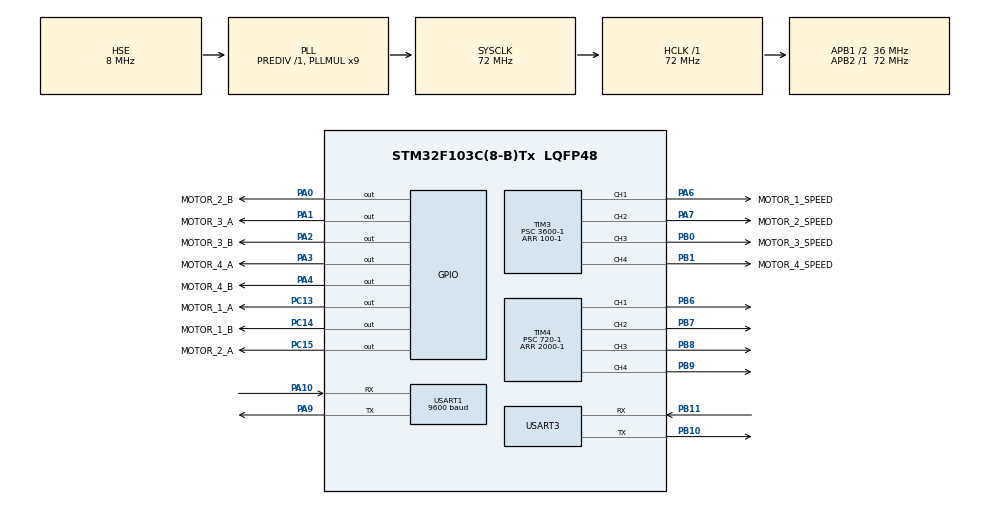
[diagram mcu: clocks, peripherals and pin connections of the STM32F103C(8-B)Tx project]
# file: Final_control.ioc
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Dma.Request0=USART1_RX
Dma.Request1=USART3_RX
Dma.Request2=USART3_TX
Dma.USART1_RX.0.Direction=DMA_PERIPH_TO_MEMORY
Dma.USART1_RX.0.Instance=DMA1_Channel5
Dma.USART1_RX.0.MemDataAlignment=DMA_MDATAALIGN_BYTE
Dma.USART1_RX.0.MemInc=DMA_MINC_ENABLE
Dma.USART1_RX.0.Mode=DMA_CIRCULAR
Dma.USART1_RX.0.PeriphDataAlignment=DMA_PDATAALIGN_BYTE
Dma.USART1_RX.0.PeriphInc=DMA_PINC_DISABLE
Dma.USART1_RX.0.Priority=DMA_PRIORITY_LOW
Dma.USART3_RX.1.Direction=DMA_PERIPH_TO_MEMORY
Dma.USART3_RX.1.Instance=DMA1_Channel3
Dma.USART3_RX.1.MemDataAlignment=DMA_MDATAALIGN_BYTE
Dma.USART3_RX.1.MemInc=DMA_MINC_ENABLE
Dma.USART3_RX.1.Mode=DMA_CIRCULAR
Dma.USART3_RX.1.PeriphDataAlignment=DMA_PDATAALIGN_BYTE
Dma.USART3_RX.1.PeriphInc=DMA_PINC_DISABLE
Dma.USART3_RX.1.Priority=DMA_PRIORITY_LOW
Dma.USART3_TX.2.Direction=DMA_MEMORY_TO_PERIPH
Dma.USART3_TX.2.Instance=DMA1_Channel2
Dma.USART3_TX.2.MemDataAlignment=DMA_MDATAALIGN_BYTE
Dma.USART3_TX.2.MemInc=DMA_MINC_ENABLE
Dma.USART3_TX.2.Mode=DMA_NORMAL
Dma.USART3_TX.2.PeriphDataAlignment=DMA_PDATAALIGN_BYTE
Dma.USART3_TX.2.PeriphInc=DMA_PINC_DISABLE
Dma.USART3_TX.2.Priority=DMA_PRIORITY_LOW
Mcu.Family=STM32F1
Mcu.Name=STM32F103C(8-B)Tx
Mcu.Package=LQFP48
NVIC.DMA1_Channel2_IRQn=true\:5\:0\:true\:false\:true\:false\:true\:true
NVIC.DMA1_Channel3_IRQn=true\:3\:0\:true\:false\:true\:false\:true\:true
NVIC.DMA1_Channel5_IRQn=true\:4\:0\:true\:false\:true\:false\:true\:true
NVIC.PriorityGroup=NVIC_PRIORITYGROUP_4
NVIC.TIM2_IRQn=true\:2\:0\:true\:false\:true\:true\:true\:true
PA0-WKUP.GPIO_Label=MOTOR_2_B
PA0-WKUP.Signal=GPIO_Output
PA1.GPIO_Label=MOTOR_3_A
PA1.Signal=GPIO_Output
PA10.Mode=Asynchronous
PA10.Signal=USART1_RX
PA13.Mode=Serial_Wire
PA13.Signal=SYS_JTMS-SWDIO
PA14.Mode=Serial_Wire
PA14.Signal=SYS_JTCK-SWCLK
PA2.GPIO_Label=MOTOR_3_B
PA2.Signal=GPIO_Output
PA3.GPIO_Label=MOTOR_4_A
PA3.Signal=GPIO_Output
PA4.GPIO_Label=MOTOR_4_B
PA4.Signal=GPIO_Output
PA6.GPIO_Label=MOTOR_1_SPEED
PA6.Signal=S_TIM3_CH1
PA7.GPIO_Label=MOTOR_2_SPEED
PA7.Signal=S_TIM3_CH2
PA9.Mode=Asynchronous
PA9.Signal=USART1_TX
PB0.GPIO_Label=MOTOR_3_SPEED
PB0.Signal=S_TIM3_CH3
PB1.GPIO_Label=MOTOR_4_SPEED
PB1.Signal=S_TIM3_CH4
PB10.Mode=Asynchronous
PB10.Signal=USART3_TX
PB11.Mode=Asynchronous
PB11.Signal=USART3_RX
PB6.Signal=S_TIM4_CH1
PB7.Signal=S_TIM4_CH2
PB8.Signal=S_TIM4_CH3
PB9.Signal=S_TIM4_CH4
PC13-TAMPER-RTC.GPIO_Label=MOTOR_1_A
PC13-TAMPER-RTC.Signal=GPIO_Output
PC14-OSC32_IN.GPIO_Label=MOTOR_1_B
PC14-OSC32_IN.Signal=GPIO_Output
PC15-OSC32_OUT.GPIO_Label=MOTOR_2_A
PC15-OSC32_OUT.Signal=GPIO_Output
PD0-OSC_IN.Mode=HSE-External-Oscillator
PD0-OSC_IN.Signal=RCC_OSC_IN
PD1-OSC_OUT.Mode=HSE-External-Oscillator
PD1-OSC_OUT.Signal=RCC_OSC_OUT
ProjectManager.HeapSize=0x200
ProjectManager.StackSize=0x400
ProjectManager.TargetToolchain=MDK-ARM V5.32
RCC.AHBFreq_Value=72000000
RCC.APB1CLKDivider=RCC_HCLK_DIV2
RCC.APB1Freq_Value=36000000
RCC.APB1TimFreq_Value=72000000
RCC.APB2Freq_Value=72000000
RCC.APB2TimFreq_Value=72000000
RCC.HCLKFreq_Value=72000000
RCC.PLLMUL=RCC_PLL_MUL9
RCC.PLLSourceVirtual=RCC_PLLSOURCE_HSE
RCC.SYSCLKFreq_VALUE=72000000
RCC.SYSCLKSource=RCC_SYSCLKSOURCE_PLLCLK
RCC.USBFreq_Value=72000000
SH.S_TIM3_CH1.0=TIM3_CH1,PWM Generation1 CH1
SH.S_TIM3_CH2.0=TIM3_CH2,PWM Generation2 CH2
SH.S_TIM3_CH3.0=TIM3_CH3,PWM Generation3 CH3
SH.S_TIM3_CH4.0=TIM3_CH4,PWM Generation4 CH4
SH.S_TIM4_CH1.0=TIM4_CH1,PWM Generation1 CH1
SH.S_TIM4_CH2.0=TIM4_CH2,PWM Generation2 CH2
SH.S_TIM4_CH3.0=TIM4_CH3,PWM Generation3 CH3
SH.S_TIM4_CH4.0=TIM4_CH4,PWM Generation4 CH4
TIM2.Period=100-1
TIM2.Prescaler=720-1
TIM3.AutoReloadPreload=TIM_AUTORELOAD_PRELOAD_ENABLE
TIM3.Channel-PWM\ Generation1\ CH1=TIM_CHANNEL_1
TIM3.Channel-PWM\ Generation2\ CH2=TIM_CHANNEL_2
TIM3.Channel-PWM\ Generation3\ CH3=TIM_CHANNEL_3
TIM3.Channel-PWM\ Generation4\ CH4=TIM_CHANNEL_4
TIM3.Period=100-1
TIM3.Prescaler=3600-1
TIM3.Pulse-PWM\ Generation1\ CH1=50-1
TIM3.Pulse-PWM\ Generation2\ CH2=50-1
TIM4.AutoReloadPreload=TIM_AUTORELOAD_PRELOAD_ENABLE
TIM4.Channel-PWM\ Generation1\ CH1=TIM_CHANNEL_1
TIM4.Channel-PWM\ Generation2\ CH2=TIM_CHANNEL_2
TIM4.Channel-PWM\ Generation3\ CH3=TIM_CHANNEL_3
TIM4.Channel-PWM\ Generation4\ CH4=TIM_CHANNEL_4
TIM4.Period=2000-1
TIM4.Prescaler=720-1
USART1.BaudRate=9600
USART1.VirtualMode=VM_ASYNC
USART3.VirtualMode=VM_ASYNC
VP_TIM2_VS_ClockSourceINT.Mode=Internal
board=custom

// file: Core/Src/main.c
/* USER CODE BEGIN Header */
/**
 ******************************************************************************
 * @file           : main.c
 * @brief          : Main program body
 ******************************************************************************
 * @attention
 *
 * Copyright (c) 2024 STMicroelectronics.
 * All rights reserved.
 *
 * This software is licensed under terms that can be found in the LICENSE file
 * in the root directory of this software component.
 * If no LICENSE file comes with this software, it is provided AS-IS.
 *
 ******************************************************************************
 */
/* USER CODE END Header */
#include "main.h"
#include "dma.h"
#include "tim.h"
#include "usart.h"
#include "gpio.h"

/* USER CODE BEGIN Includes */
#include "valuepack.h"
/* USER CODE END Includes */

/* USER CODE BEGIN PM */
#define MAX_SPEED 100
#define RATIO_TO_ARR_MAGIC_NUMBER 150
#define RASP_BUFFER_SIZE 128

// reset positionk
// range:-100~100
#define SERVO_1_RESET_POSITION 0
#define SERVO_2_RESET_POSITION 100
#define SERVO_3_RESET_POSITION 100

#define CLAW_CLOSED_POSITION 35
#define CLAW_OPEN_POSITION 100

/* USER CODE END PM */

/* USER CODE BEGIN PV */

// here is BLE vars
_Bool RED0_BLE1 = 0;
_Bool BOOL1 = 0;
_Bool BOOL2 = 0;
_Bool BOOL3 = 0;
_Bool BOOL4 = 0;
_Bool BOOL5 = 0;
_Bool BOOL6 = 0;
_Bool CLAW = 0;
_Bool ResetPosition = 0;
_Bool StartAuto = 0;
_Bool Man1 = 0;
_Bool Man2 = 0;
_Bool Man3 = 0;
_Bool Man4 = 0;

int8_t OBJ = 0; // 0-none, 1-garbage, 2-mine, 3-meteroite
int8_t overall_byte = 0;
int8_t X_axis = 0;
int8_t Y_axis = 0;
int8_t ROTATION = 0;
int8_t S1 = 0;
int8_t S2 = 0;
int8_t S3 = 0;
int8_t S4 = 0;

int8_t servo_control_1 = SERVO_1_RESET_POSITION;
int8_t servo_control_2 = SERVO_2_RESET_POSITION;
int8_t servo_control_3 = SERVO_3_RESET_POSITION;
int8_t servo_control_4 = CLAW_OPEN_POSITION;

// char target_arr[6];

// debug DEBUG Debug--------------
char target_arr[6] = {'Y', 'X', 'Z', 'X', 'Y', 'Z'};
char validate_num_list[2];
_Bool *full_block_ptr[6] = {&BOOL1, &BOOL2, &BOOL3, &BOOL4, &BOOL5, &BOOL6};
_Bool finished_receiving_target = 0;
unsigned short rasp_last_index = 0;
unsigned short rasp_this_index = 0;
uint16_t rasp_index = 0;

// uint8_t auto_count=0;
// uint8_t auto_last=0;

uint8_t auto_status_flag = 0;
_Bool still_have_bonus_left = 0;
_Bool still_have_normal_left = 0;

// const uint8_t BUFFER_SIZE=32;
// uint8_t rx_buffer[VALUEPACK_BUFFER_SIZE];
extern unsigned char vp_rxbuff[VALUEPACK_BUFFER_SIZE];
unsigned char rasp_buff[RASP_BUFFER_SIZE];
RxPack rx_pack_ptr;

_Bool started_read_rasp = 0;

/* USER CODE END PV */

void SystemClock_Config(void);
/* USER CODE BEGIN PFP */
void WheelControl(GPIO_TypeDef *DIR1_Port, uint16_t DIR1_Pin, GPIO_TypeDef *DIR2_Port, uint16_t DIR2_Pin, TIM_HandleTypeDef *htim, uint32_t channel, int16_t speed);
void SetMecanumWheels(int16_t speedLF, int16_t speedRF, int16_t speedLB, int16_t speedRB);
int16_t abs16_t(int16_t x);
void MoveMecanumWheels(int16_t vx, int16_t vy, int16_t omega);
/* USER CODE END PFP */

/* USER CODE BEGIN 0 */

//-100<=speed<=100
void WheelControl(GPIO_TypeDef *DIR1_Port, uint16_t DIR1_Pin, GPIO_TypeDef *DIR2_Port, uint16_t DIR2_Pin, TIM_HandleTypeDef *htim, uint32_t channel, int16_t speed)
{
  if (speed > 0)
  {
    HAL_GPIO_WritePin(DIR1_Port, DIR1_Pin, GPIO_PIN_SET);
    HAL_GPIO_WritePin(DIR2_Port, DIR2_Pin, GPIO_PIN_RESET);
  }
  else if (speed < 0)
  {
    HAL_GPIO_WritePin(DIR1_Port, DIR1_Pin, GPIO_PIN_RESET);
    HAL_GPIO_WritePin(DIR2_Port, DIR2_Pin, GPIO_PIN_SET);
    speed = -speed;
  }
  else
  {

    HAL_GPIO_WritePin(DIR1_Port, DIR1_Pin, GPIO_PIN_RESET);
    HAL_GPIO_WritePin(DIR2_Port, DIR2_Pin, GPIO_PIN_RESET);
  }
  __HAL_TIM_SET_COMPARE(htim, channel, speed);
}

/*
int16_t debug_1=0;
int16_t debug_2=0;
int16_t debug_3=0;
int16_t debug_4=0;
*/
void SetMecanumWheels(int16_t speedLF, int16_t speedRF, int16_t speedLB, int16_t speedRB)
{
  /*
  debug_1=speedLF;
  debug_2=speedRF;
  debug_3=speedLB;
  debug_4=speedRB;*/

  WheelControl(MOTOR_1_A_GPIO_Port, MOTOR_1_A_Pin, MOTOR_1_B_GPIO_Port, MOTOR_1_B_Pin, &htim3, TIM_CHANNEL_1, speedLF);
  WheelControl(MOTOR_2_A_GPIO_Port, MOTOR_2_A_Pin, MOTOR_2_B_GPIO_Port, MOTOR_2_B_Pin, &htim3, TIM_CHANNEL_2, speedRF);
  WheelControl(MOTOR_3_A_GPIO_Port, MOTOR_3_A_Pin, MOTOR_3_B_GPIO_Port, MOTOR_3_B_Pin, &htim3, TIM_CHANNEL_3, speedLB);
  WheelControl(MOTOR_4_A_GPIO_Port, MOTOR_4_A_Pin, MOTOR_4_B_GPIO_Port, MOTOR_4_B_Pin, &htim3, TIM_CHANNEL_4, speedRB);
}

int16_t abs16_t(int16_t x)
{
  return (x > 0) ? x : -x;
}

void MoveMecanumWheels(int16_t vx, int16_t vy, int16_t omega)
{
  int16_t speedLF = vy + vx - omega;
  int16_t speedRF = vy - vx + omega;
  int16_t speedLB = vy - vx - omega;
  int16_t speedRB = vy + vx + omega;

  // Find the maximum speed among the four wheels
  int16_t maxSpeed = abs16_t(speedLF);
  if (abs16_t(speedRF) > maxSpeed)
    maxSpeed = abs16_t(speedRF);
  if (abs16_t(speedLB) > maxSpeed)
    maxSpeed = abs16_t(speedLB);
  if (abs16_t(speedRB) > maxSpeed)
    maxSpeed = abs16_t(speedRB);

  // If the maximum speed exceeds 100, scale all wheel speeds proportionally
  if (maxSpeed > MAX_SPEED)
  {
    /*debug_1=speedLF = speedLF * MAX_SPEED / maxSpeed;
    debug_2=speedRF = speedRF * MAX_SPEED / maxSpeed;
    debug_3=speedLB = speedLB * MAX_SPEED / maxSpeed;
    debug_4=speedRB = speedRB * MAX_SPEED / maxSpeed;*/

    speedLF = speedLF * MAX_SPEED / maxSpeed;
    speedRF = speedRF * MAX_SPEED / maxSpeed;
    speedLB = speedLB * MAX_SPEED / maxSpeed;
    speedRB = speedRB * MAX_SPEED / maxSpeed;
  }

  // Set the speed for the mecanum wheels
  SetMecanumWheels(-speedLF, speedRF, -speedLB, speedRB);
}

void SetSingleServo(TIM_HandleTypeDef *htim, uint32_t channel, int16_t ratio)
{
  __HAL_TIM_SetCompare(htim, channel, ratio + RATIO_TO_ARR_MAGIC_NUMBER);
}

void SetServos(int16_t ratio1, int16_t ratio2, int16_t ratio3, int16_t ratio4)
{

  ratio2 = ratio2 * 0.8 + 20;
	ratio3 = ratio3 * 0.75 + 25;

  SetSingleServo(&htim4, TIM_CHANNEL_1, ratio1);
  SetSingleServo(&htim4, TIM_CHANNEL_2, ratio2);
  SetSingleServo(&htim4, TIM_CHANNEL_3, ratio3);
  SetSingleServo(&htim4, TIM_CHANNEL_4, ratio4);
}

void GetData(void)
{
  readValuePack(&rx_pack_ptr);

  RED0_BLE1 = rx_pack_ptr.bools[0];
  BOOL1 = rx_pack_ptr.bools[1];
  BOOL2 = rx_pack_ptr.bools[2];
  BOOL3 = rx_pack_ptr.bools[3];
  BOOL4 = rx_pack_ptr.bools[4];
  BOOL5 = rx_pack_ptr.bools[5];
  BOOL6 = rx_pack_ptr.bools[6];
  CLAW = rx_pack_ptr.bools[7];
  ResetPosition = rx_pack_ptr.bools[8];
  StartAuto = rx_pack_ptr.bools[9];
  Man1 = rx_pack_ptr.bools[10];
  Man2 = rx_pack_ptr.bools[11];
  Man3 = rx_pack_ptr.bools[12];
  Man4 = rx_pack_ptr.bools[13];

  OBJ = rx_pack_ptr.bytes[0]; // 0-none, 1-garbage, 2-mine, 3-meteroite
  overall_byte = rx_pack_ptr.bytes[1];
  X_axis = rx_pack_ptr.bytes[2];
  Y_axis = rx_pack_ptr.bytes[3];
  ROTATION = rx_pack_ptr.bytes[4];
  S1 = rx_pack_ptr.bytes[5];
  S2 = rx_pack_ptr.bytes[6];
  S3 = rx_pack_ptr.bytes[7];
  S4 = rx_pack_ptr.bytes[8];
}

void swap_arr(uint8_t a, uint8_t b)
{
  char temp = target_arr[a];
  target_arr[a] = target_arr[b];
  target_arr[b] = temp;
}

_Bool validate_data()
{

  int8_t my_validate_value = 0;
  for (int i = 0; i < 6; i++)
  {
    if (target_arr[i] == 'Z')
    {
      my_validate_value |= (1 << (5-i));
    }
  }

  int8_t received_validate_value = 0;

  received_validate_value += (validate_num_list[0] - 0x30) * 10;
  received_validate_value += validate_num_list[1] - 0x30;

  if (my_validate_value == received_validate_value)
  {
    return 1;
  }
  else
  {
    return 0;
  }
}

void ReadRaspData(void)
{

  if (!finished_receiving_target)
  {
    // rasp_this_index = RASP_BUFFER_SIZE - (&huart3)->hdmarx->Instance->CNDTR;
    rasp_index = 0;
    for (; rasp_index < RASP_BUFFER_SIZE; rasp_index++)
    {

      if (rasp_buff[rasp_index] == 'K')
      {

        for (int j = 0; j < 6; j++)
        {
          target_arr[j] = rasp_buff[rasp_index++];
        }
        validate_num_list[0] = rasp_index++;
        validate_num_list[1] = rasp_index++;
        break;
      }
    }
    if (rasp_index > RASP_BUFFER_SIZE - 10)
    {
      rasp_index = 0;
    }
    if (validate_data())
    {

      if (RED0_BLE1 == 0)
      {
        swap_arr(0, 1);
        swap_arr(2, 3);
        swap_arr(4, 5);
      }

      // memset(rasp_buff,0,sizeof(rasp_buff));
      finished_receiving_target = 1;
    }
  }
}

void MoveLeftorRight(char left_or_right)
{
  if (left_or_right == 'L')
  {
    MoveMecanumWheels(-100, 0, 0);
    HAL_Delay(500);
    MoveMecanumWheels(0, 0, 0);
  }
  else if (left_or_right == 'R')
  {
    MoveMecanumWheels(100, 0, 0);
    HAL_Delay(500);
    MoveMecanumWheels(0, 0, 0);
  }
}

void MoveForwardorBackward(char for_or_back)
{
  switch (for_or_back)
  {
  case 'F':
    MoveMecanumWheels(0, 100, 0);
    HAL_Delay(400);
    MoveMecanumWheels(0, 0, 0);
		HAL_Delay(1000);
    break;
  case 'B':
		HAL_Delay(1000);
    MoveMecanumWheels(0, -100, 0);
    HAL_Delay(500);
    MoveMecanumWheels(0, 0, 0);

    break;
  default:
    break;
  }
}

void MoveUporDown(int8_t which_floor)
{

  switch (which_floor)
  {
  case 0:
    servo_control_2 = 77;
    servo_control_3 = 75;
    break;
  case 1:
    servo_control_2 = 5;
    servo_control_3 = 9;
    break;
  case 2:
    servo_control_2 = -41;
    servo_control_3 = -44;
    break;
  default:
    break;
  }
  SetServos(servo_control_1, servo_control_2, servo_control_3, servo_control_4);
}

void found_and_goto_put(int8_t target_index)
{

  MoveUporDown(target_index / 2);
  SetServos(servo_control_1, servo_control_2, servo_control_3, servo_control_4);
	servo_control_4 = CLAW_OPEN_POSITION;

	HAL_Delay(500);

  if ((target_index + 1) % 2 == 1)
  {
    MoveLeftorRight('L');
  }
  else
  {
    MoveLeftorRight('R');
  }

  MoveForwardorBackward('F');

  servo_control_4 = CLAW_OPEN_POSITION;
  SetServos(servo_control_1, servo_control_2, servo_control_3, servo_control_4);

  MoveForwardorBackward('B');
}

void none_left(void)
{
  MoveMecanumWheels(0, 0, 100);
  HAL_Delay(500);
  MoveMecanumWheels(0, 0, -100);
  HAL_Delay(500);
  MoveMecanumWheels(0, 0, 0);
}

void NoBonus(void)
{
  still_have_normal_left = 0;
  int8_t current_normal = -1;
  for (int i = 0; i < 6; i++)
  {
    if ((target_arr[i] == 'Y') && (!*full_block_ptr[i]))
    {
      still_have_bonus_left = 1;
      current_normal = i;
    }
  }

  if (still_have_normal_left)
  {
    found_and_goto_put(current_normal);
  }
  else
  {
    if (OBJ == 1 || OBJ == 0)
    {
      int8_t current_garbage = -1;
      _Bool still_have_garbage_left = 0;
      for (int i = 0; i < 6; i++)
      {
        if ((target_arr[i] == 'X') && (!*full_block_ptr[i]))
        {
          still_have_garbage_left = 1;
          current_garbage = i;
        }
      }
      if (still_have_garbage_left)
      {
        found_and_goto_put(current_garbage);
      }
    }
    else
    {
      none_left();
    }
  }
}

void AutoPut(void)
{
  int8_t current_bonus = -1;
  still_have_bonus_left = 0;
  int8_t full_count = 0;
  int8_t only_1_left = -1;

  for (int8_t i = 0; i < 6; i++)
  {
    if (*full_block_ptr[i])
    {
      full_count++;
    }
    else
    {
      only_1_left = i;
    }
  }

  if (full_count == 5)
  {
    found_and_goto_put(only_1_left);
  }
  else
  {

    for (int i = 0; i < 6; i++)
    {
      if ((target_arr[i] == 'Z') && (!*full_block_ptr[i]))
      {
        still_have_bonus_left = 1;
        current_bonus = i;
      }
    }

    if (still_have_bonus_left)
    {
      found_and_goto_put(current_bonus);
    }
    else
    {
      NoBonus();
    }
  }
  auto_status_flag = 2;

  // auto_count++;7
}

void CalculateServos(void)
{
  servo_control_1 = S1;
  servo_control_2 = S2;
  servo_control_3 = S3;
}

void Respond_to_commands(void)
{
  if (StartAuto)
  {
    if (auto_status_flag == 0)
    {
      auto_status_flag = 1;
      AutoPut();
    }
  }
  else if (auto_status_flag == 2 && StartAuto == 0 && CLAW == 0)
  {
    auto_status_flag = 0;
  }
  else
  {
    if (ResetPosition)
    {
      servo_control_1 = SERVO_1_RESET_POSITION;
      servo_control_2 = SERVO_2_RESET_POSITION;
      servo_control_3 = SERVO_3_RESET_POSITION;
      servo_control_4 = (CLAW) ? CLAW_CLOSED_POSITION : CLAW_OPEN_POSITION;
      if(Man4){
        servo_control_4 = S4;
      }
      SetServos(servo_control_1, servo_control_2, servo_control_3, servo_control_4);
    }
    else
    {
      CalculateServos();

      servo_control_4 = (CLAW) ? CLAW_CLOSED_POSITION : CLAW_OPEN_POSITION;

      // Manual Override :P be careful
      if (Man1)
      {
        servo_control_1 = S1;
      }

      if (Man2)
      {
        servo_control_2 = S2;
      }

      if (Man3)
      {
        servo_control_3 = S3;
      }

      if (Man4)
      {
        servo_control_4 = S4;
      }

      SetServos(servo_control_1, servo_control_2, servo_control_3, servo_control_4);
    }
    MoveMecanumWheels(X_axis, Y_axis, -ROTATION);
  }
}

void HAL_UART_RxCpltCallback(UART_HandleTypeDef *huart)
{
  /*if(huart==&huart1){

      //readValuePack(&rx_pack_ptr);
      //MoveMecanumWheels(rx_pack_ptr.shorts[0],rx_pack_ptr.shorts[1],rx_pack_ptr.shorts[2]);
      }*/
  if (huart == &huart3)
  {
  }
}

void HAL_TIM_PeriodElapsedCallback(TIM_HandleTypeDef *htim)
{
  if (htim == &htim2)
  {

    // readValuePack(&rx_pack_ptr);
    GetData();
    Respond_to_commands();

    if (!started_read_rasp)
    {
      started_read_rasp = 1;
      ReadRaspData();
      started_read_rasp = 0;
    }

    // SetMecanumWheels(rx_pack_ptr.shorts[0],rx_pack_ptr.shorts[1],rx_pack_ptr.shorts[2],rx_pack_ptr.shorts[3]);
  }
}

/* USER CODE END 0 */

int main(void)
{

  /* MCU Configuration--------------------------------------------------------*/

  /* Reset of all peripherals, Initializes the Flash interface and the Systick. */
  HAL_Init();

  /* Configure the system clock */
  SystemClock_Config();

  /* Initialize all configured peripherals */
  MX_GPIO_Init();
  MX_DMA_Init();
  MX_USART1_UART_Init();
  MX_TIM3_Init();
  MX_USART3_UART_Init();
  MX_TIM2_Init();
  MX_TIM4_Init();
  /* USER CODE BEGIN 2 */
  HAL_TIM_PWM_Start(&htim3, TIM_CHANNEL_1);
  HAL_TIM_PWM_Start(&htim3, TIM_CHANNEL_2);
  HAL_TIM_PWM_Start(&htim3, TIM_CHANNEL_3);
  HAL_TIM_PWM_Start(&htim3, TIM_CHANNEL_4);

  HAL_TIM_PWM_Start(&htim4, TIM_CHANNEL_1);
  HAL_TIM_PWM_Start(&htim4, TIM_CHANNEL_2);
  HAL_TIM_PWM_Start(&htim4, TIM_CHANNEL_3);
  HAL_TIM_PWM_Start(&htim4, TIM_CHANNEL_4);

  HAL_TIM_Base_Start_IT(&htim2);

  HAL_UART_Receive_DMA(&huart1, vp_rxbuff, VALUEPACK_BUFFER_SIZE);
  HAL_UART_Receive_DMA(&huart3, rasp_buff, RASP_BUFFER_SIZE);

  SetServos(SERVO_1_RESET_POSITION, SERVO_2_RESET_POSITION, SERVO_3_RESET_POSITION, CLAW_OPEN_POSITION);

  /* USER CODE END 2 */

  /* Infinite loop */
  while (1)
  {

  }
}

void SystemClock_Config(void)
{
  RCC_OscInitTypeDef RCC_OscInitStruct = {0};
  RCC_ClkInitTypeDef RCC_ClkInitStruct = {0};

  /** Initializes the RCC Oscillators according to the specified parameters
  * in the RCC_OscInitTypeDef structure.
  */
  RCC_OscInitStruct.OscillatorType = RCC_OSCILLATORTYPE_HSE;
  RCC_OscInitStruct.HSEState = RCC_HSE_ON;
  RCC_OscInitStruct.HSEPredivValue = RCC_HSE_PREDIV_DIV1;
  RCC_OscInitStruct.HSIState = RCC_HSI_ON;
  RCC_OscInitStruct.PLL.PLLState = RCC_PLL_ON;
  RCC_OscInitStruct.PLL.PLLSource = RCC_PLLSOURCE_HSE;
  RCC_OscInitStruct.PLL.PLLMUL = RCC_PLL_MUL9;
  if (HAL_RCC_OscConfig(&RCC_OscInitStruct) != HAL_OK)
  {
    Error_Handler();
  }

  /** Initializes the CPU, AHB and APB buses clocks
  */
  RCC_ClkInitStruct.ClockType = RCC_CLOCKTYPE_HCLK|RCC_CLOCKTYPE_SYSCLK
                              |RCC_CLOCKTYPE_PCLK1|RCC_CLOCKTYPE_PCLK2;
  RCC_ClkInitStruct.SYSCLKSource = RCC_SYSCLKSOURCE_PLLCLK;
  RCC_ClkInitStruct.AHBCLKDivider = RCC_SYSCLK_DIV1;
  RCC_ClkInitStruct.APB1CLKDivider = RCC_HCLK_DIV2;
  RCC_ClkInitStruct.APB2CLKDivider = RCC_HCLK_DIV1;

  if (HAL_RCC_ClockConfig(&RCC_ClkInitStruct, FLASH_LATENCY_2) != HAL_OK)
  {
    Error_Handler();
  }
}

void Error_Handler(void)
{
  __disable_irq();
  while (1)
  {
  }
}
